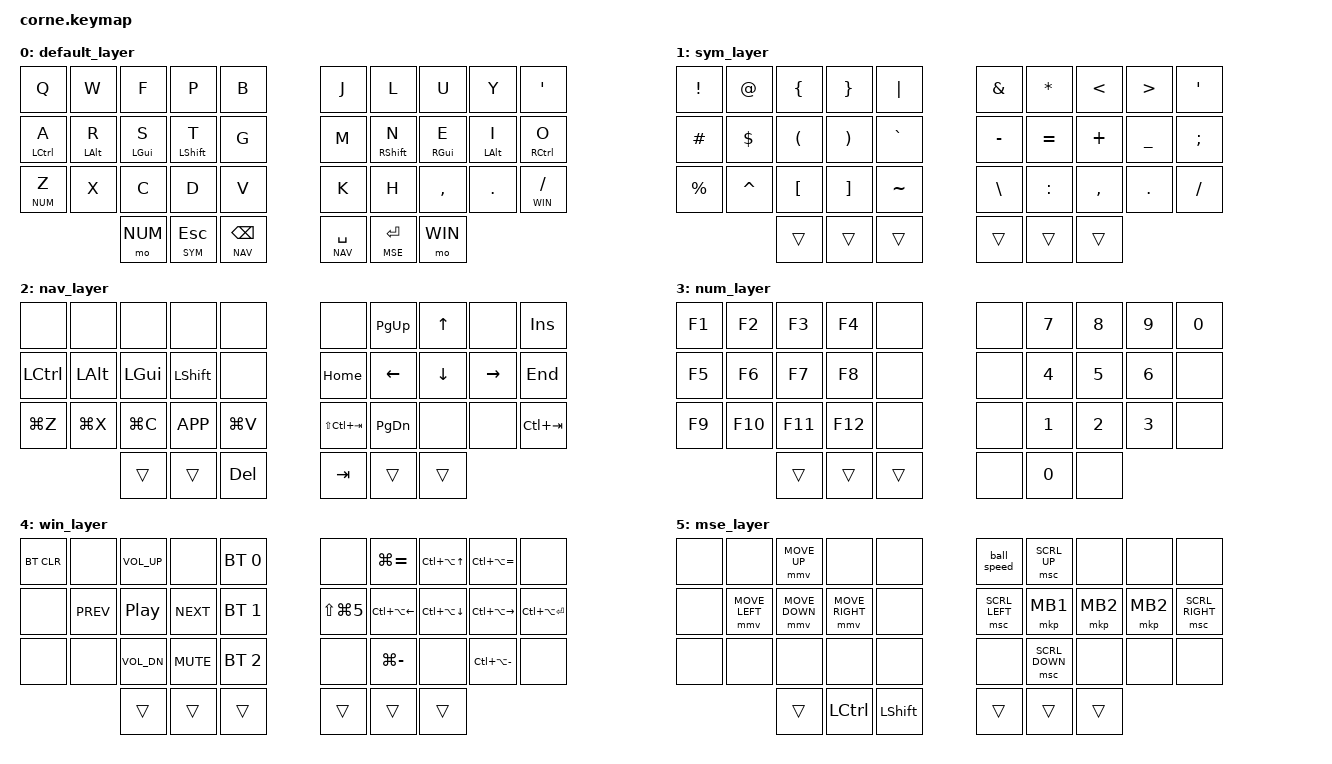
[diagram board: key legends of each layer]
/*
 * Copyright (c) 2020 The ZMK Contributors
 *
 * SPDX-License-Identifier: MIT
 */

#include <behaviors.dtsi>
#include <dt-bindings/zmk/keys.h>
#include <dt-bindings/zmk/bt.h>

#include <dt-bindings/zmk/outputs.h>
#include <dt-bindings/zmk/ext_power.h>
#include <dt-bindings/zmk/mouse.h>


#define DEFAULT 0
#define SYM     1
#define NAV     2
#define NUM     3
#define WIN     4
#define MSE     5

&lt {
  quick_tap_ms = <200>;
};

/ {
    behaviors {
      hm: homerow_mods {
        compatible = "zmk,behavior-hold-tap";
        label = "HOMEROW_MODS";
        #binding-cells = <2>;
        tapping-term-ms = <150>;
        quick-tap-ms = <200>;
        flavor = "tap-preferred";
        bindings = <&kp>, <&kp>;
      };
      hs: homerow_mods_slow {
        compatible = "zmk,behavior-hold-tap";
        label = "HOMEROW_MODS_SLOW";
        #binding-cells = <2>;
        tapping-term-ms = <200>;
        quick-tap-ms = <200>;
        flavor = "tap-preferred";
        bindings = <&kp>, <&kp>;
      };
      hf: homerow_mods_fast {
        compatible = "zmk,behavior-hold-tap";
        label = "HOMEROW_MODS_FAST";
        #binding-cells = <2>;
        tapping-term-ms = <110>;
        quick-tap-ms = <200>;
        flavor = "tap-preferred";
        bindings = <&kp>, <&kp>;
      };
      bhm: balanced_homerow_mods {
          compatible = "zmk,behavior-hold-tap";
          #binding-cells = <2>;
          tapping-term-ms = <125>;    // <---[[moderate duration is 200]]
          quick-tap-ms = <0>;
          flavor = "balanced";
          bindings = <&kp>, <&kp>;
      };
    };

    combos {
      compatible = "zmk,combos";

      combo_capsword {
        timeout-ms = <50>;
        key-positions = <13 16>;
        bindings = <&caps_word>;
      };
    };

    macros {
      ball_speed: ball_speed {
        label = "ball_speed";
        compatible = "zmk,behavior-macro";
        #binding-cells = <0>;
        bindings
            = <&macro_tap &kp CAPS &kp CAPS &kp NUM &kp NUM>
            ;
      };
    };
};

/ {
    chosen {
      zmk,matrix_transform = &five_column_transform;
    };
};

/ {
    keymap {
      compatible = "zmk,keymap";

      default_layer {
        bindings = <
          &kp Q &kp W &kp F &kp P &kp B   &kp J &kp L  &kp U     &kp Y   &kp SQT
          &bhm LCTRL A &bhm LALT R &bhm LGUI S &bhm LSHFT T &kp G   &kp M &bhm RSHFT N  &bhm RGUI E &bhm LALT I &bhm RCTRL O
          &lt NUM Z  &kp X &kp C  &kp D &kp V   &kp K &kp H  &kp COMMA &kp DOT &lt WIN FSLH
                        &mo NUM &lt SYM ESC &lt NAV BSPC &lt NAV SPACE &lt MSE RET &mo WIN
        >;
      };

      sym_layer {
        bindings = <
          &kp EXCL  &kp AT   &kp LBRC &kp RBRC &kp PIPE       &kp AMPS &kp ASTRK &kp LT  &kp GT  &kp SQT
          &kp HASH  &kp DLLR &kp LPAR &kp RPAR &kp GRAVE      &kp MINUS &kp EQUAL &kp PLUS &kp UNDER &kp SEMI
          &kp PRCNT &kp CARET &kp LBKT &kp RBKT &kp TILDE     &kp BSLH &kp COLON &kp COMMA &kp DOT &kp FSLH
                        &trans       &trans      &trans       &trans         &trans   &trans
        >;
      };

      nav_layer {
        bindings = <
          &none     &none     &none     &none     &none         &none &kp PG_UP &kp UP &none &kp INS
          &kp LCTRL &kp LALT  &kp LGUI  &kp LSHFT &none         &kp HOME &kp LEFT &kp DOWN &kp RIGHT &kp END
          &kp LG(Z) &kp LG(X) &kp LG(C) &kp K_APP &kp LG(V)     &kp LS(LC(TAB)) &kp PG_DN &none &none &kp LC(TAB)
                        &trans       &trans      &kp DEL       &kp TAB        &trans     &trans
        >;
      };

      num_layer {
        bindings = <
          &kp F1    &kp F2    &kp F3    &kp F4    &none         &none     &kp N7    &kp N8    &kp N9    &kp N0
          &kp F5    &kp F6    &kp F7    &kp F8    &none         &none     &kp N4    &kp N5    &kp N6    &none
          &kp F9    &kp F10   &kp F11   &kp F12   &none         &none     &kp N1    &kp N2    &kp N3    &none
                        &trans      &trans      &trans          &none     &kp N0    &none
        >;
      };

      win_layer {
        bindings = <
          &bt BT_CLR &none &kp C_VOL_UP &none &bt BT_SEL 0                    &none &kp LG(EQUAL) &kp LC(LA(UP)) &kp LC(LA(EQUAL)) &none
          &none &kp C_PREV &kp C_PP &kp C_NEXT &bt BT_SEL 1                   &kp LS(LG(N5)) &kp LC(LA(LEFT)) &kp LC(LA(DOWN)) &kp LC(LA(RIGHT)) &kp LC(LA(RET))
          &none &none &kp C_VOL_DN &kp C_MUTE &bt BT_SEL 2                    &none &kp LG(MINUS) &none &kp LC(LA(MINUS)) &none
                          &trans     &trans      &trans       &trans        &trans      &trans
        >;
      };

      mse_layer {
        bindings = <
          &none     &none &mmv MOVE_UP &none     &none         &ball_speed     &msc SCRL_UP    &none     &none     &none
          &none     &mmv MOVE_LEFT &mmv MOVE_DOWN &mmv MOVE_RIGHT &none         &msc SCRL_LEFT &mkp MB1 &mkp MB2 &mkp MB2 &msc SCRL_RIGHT
          &none     &none     &none     &none     &none         &none     &msc SCRL_DOWN    &none     &none     &none
                                &trans    &kp LCTRL &kp LSHFT     &trans    &trans   &trans
        >;
      };
   };
};
